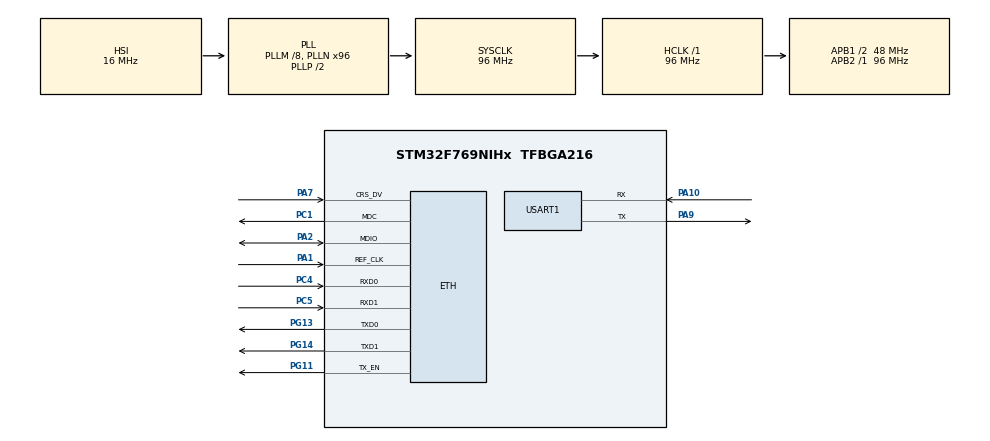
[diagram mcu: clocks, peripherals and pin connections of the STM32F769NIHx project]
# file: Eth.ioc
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CORTEX_M7.default_mode_Activation=1
ETH.MediaInterface=HAL_ETH_RMII_MODE
FREERTOS.Tasks01=defaultTask,0,256,StartDefaultTask,Default,NULL,Dynamic,NULL,NULL
FREERTOS.configTIMER_TASK_STACK_DEPTH=256
FREERTOS.configTOTAL_HEAP_SIZE=65536
FREERTOS.configUSE_COUNTING_SEMAPHORES=1
FREERTOS.configUSE_TIMERS=1
Mcu.Family=STM32F7
Mcu.Name=STM32F769NIHx
Mcu.Package=TFBGA216
NVIC.ETH_IRQn=true\:5\:0\:false\:false\:true\:true\:true\:true\:true
NVIC.ETH_WKUP_IRQn=true\:5\:0\:false\:false\:true\:true\:true\:true\:true
NVIC.PriorityGroup=NVIC_PRIORITYGROUP_4
NVIC.USART1_IRQn=true\:5\:0\:false\:false\:true\:true\:true\:true\:true
PA1.Mode=RMII
PA1.Signal=ETH_REF_CLK
PA10.Mode=Asynchronous
PA10.Signal=USART1_RX
PA2.Mode=RMII
PA2.Signal=ETH_MDIO
PA7.Mode=RMII
PA7.Signal=ETH_CRS_DV
PA9.Mode=Asynchronous
PA9.Signal=USART1_TX
PC1.Mode=RMII
PC1.Signal=ETH_MDC
PC4.Mode=RMII
PC4.Signal=ETH_RXD0
PC5.Mode=RMII
PC5.Signal=ETH_RXD1
PG11.Mode=RMII
PG11.Signal=ETH_TX_EN
PG13.Mode=RMII
PG13.Signal=ETH_TXD0
PG14.Mode=RMII
PG14.Signal=ETH_TXD1
ProjectManager.HeapSize=0x200
ProjectManager.StackSize=0x400
ProjectManager.TargetToolchain=STM32CubeIDE
RCC.AHBFreq_Value=96000000
RCC.APB1CLKDivider=RCC_HCLK_DIV2
RCC.APB1Freq_Value=48000000
RCC.APB1TimFreq_Value=96000000
RCC.APB2Freq_Value=96000000
RCC.APB2TimFreq_Value=96000000
RCC.CortexFreq_Value=96000000
RCC.HCLKFreq_Value=96000000
RCC.HSE_VALUE=25000000
RCC.HSI_VALUE=16000000
RCC.LSE_VALUE=32768
RCC.PLLM=8
RCC.PLLN=96
RCC.PLLQ=4
RCC.SYSCLKFreq_VALUE=96000000
RCC.SYSCLKSource=RCC_SYSCLKSOURCE_PLLCLK
RCC.USBFreq_Value=48000000
RCC.VCOOutputFreq_Value=192000000
USART1.VirtualMode-Asynchronous=VM_ASYNC
VP_FREERTOS_VS_CMSIS_V1.Mode=CMSIS_V1
VP_RNG_VS_RNG.Mode=RNG_Activate
board=custom

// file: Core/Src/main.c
/* USER CODE BEGIN Header */
/**
  ******************************************************************************
  * @file           : main.c
  * @brief          : Main program body
  ******************************************************************************
  * @attention
  *
  * Copyright (c) 2025 STMicroelectronics.
  * All rights reserved.
  *
  * This software is licensed under terms that can be found in the LICENSE file
  * in the root directory of this software component.
  * If no LICENSE file comes with this software, it is provided AS-IS.
  *
  ******************************************************************************
  */
/* USER CODE END Header */
#include "main.h"
#include "string.h"
#include "cmsis_os.h"

/* USER CODE BEGIN Includes */
#include <string.h>
#include <stdio.h>
#include <string.h>
#include <stdlib.h>
#include "eth.h"
#include "eth_test.h"
#include "usart_drv.h"
#include "eth_drv.h"
#include "console.h"
#include "util.h"
#include "ip.h"
#include "icmp.h"
/* USER CODE END Includes */

/* USER CODE BEGIN PTD */
typedef osStatus (*INIT_FUNC)(void);
typedef void (*CMD_FUNC)(void);
/* USER CODE END PTD */

#if defined ( __ICCARM__ ) /*!< IAR Compiler */
#pragma location=0x2007c000
ETH_DMADescTypeDef  DMARxDscrTab[ETH_RX_DESC_CNT]; /* Ethernet Rx DMA Descriptors */
#pragma location=0x2007c0a0
ETH_DMADescTypeDef  DMATxDscrTab[ETH_TX_DESC_CNT]; /* Ethernet Tx DMA Descriptors */

#elif defined ( __CC_ARM )  /* MDK ARM Compiler */

__attribute__((at(0x2007c000))) ETH_DMADescTypeDef  DMARxDscrTab[ETH_RX_DESC_CNT]; /* Ethernet Rx DMA Descriptors */
__attribute__((at(0x2007c0a0))) ETH_DMADescTypeDef  DMATxDscrTab[ETH_TX_DESC_CNT]; /* Ethernet Tx DMA Descriptors */

#elif defined ( __GNUC__ ) /* GNU Compiler */

ETH_DMADescTypeDef DMARxDscrTab[ETH_RX_DESC_CNT] __attribute__((section(".RxDecripSection"))); /* Ethernet Rx DMA Descriptors */
ETH_DMADescTypeDef DMATxDscrTab[ETH_TX_DESC_CNT] __attribute__((section(".TxDecripSection")));   /* Ethernet Tx DMA Descriptors */
#endif

ETH_TxPacketConfig TxConfig;

ETH_HandleTypeDef heth;

RNG_HandleTypeDef hrng;

UART_HandleTypeDef huart1;

osThreadId defaultTaskHandle;
/* USER CODE BEGIN PV */
static osStatus setup(void);
static const INIT_FUNC init_func[] = {
	// peri
	eth_init,
	// drv
	usart_drv_init,
	eth_drv_init,
	// app
	console_init,
	eth_test_init,
	util_init,
};
static const CMD_FUNC cmd_func[] = {
	eth_set_cmd,
	eth_test_set_cmd,
	icmp_set_cmd,
};
/* USER CODE END PV */

void SystemClock_Config(void);
static void MPU_Config(void);
static void MX_GPIO_Init(void);
static void MX_USART1_UART_Init(void);
static void MX_ETH_Init(void);
static void MX_RNG_Init(void);
void StartDefaultTask(void const * argument);

/* USER CODE BEGIN 0 */
static ETH_HandleTypeDef tmp_heth;
extern void HAL_ETH_MspInit(ETH_HandleTypeDef* ethHandle);
static void tmp_mx_eth_init(void)
{
	tmp_heth.Instance = ETH;

	HAL_ETH_MspInit(&tmp_heth);
}
/* USER CODE END 0 */

int main(void)
{

  /* USER CODE BEGIN 1 */
	uint8_t i, size;
  /* USER CODE END 1 */

  /* MPU Configuration--------------------------------------------------------*/
  MPU_Config();

  /* MCU Configuration--------------------------------------------------------*/

  /* Reset of all peripherals, Initializes the Flash interface and the Systick. */
  HAL_Init();

  /* Configure the system clock */
  SystemClock_Config();

  /* Initialize all configured peripherals */
  MX_GPIO_Init();
  MX_USART1_UART_Init();
  MX_ETH_Init();
  MX_RNG_Init();
  /* USER CODE BEGIN 2 */
	tmp_mx_eth_init();
	// 初期化
	size = sizeof(init_func)/sizeof(init_func[0]);
	for (i = 0; i < size; i++) {
		init_func[i]();
	}
	// コマンド
	size = sizeof(cmd_func)/sizeof(cmd_func[0]);
	for (i = 0; i < size; i++) {
		cmd_func[i]();
	}
  /* USER CODE END 2 */

  /* Create the thread(s) */
  /* definition and creation of defaultTask */
  osThreadDef(defaultTask, StartDefaultTask, osPriorityNormal, 0, 256);
  defaultTaskHandle = osThreadCreate(osThread(defaultTask), NULL);

  /* Start scheduler */
  osKernelStart();

  /* We should never get here as control is now taken by the scheduler */

  /* Infinite loop */
  while (1)
  {

  }
}

void SystemClock_Config(void)
{
  RCC_OscInitTypeDef RCC_OscInitStruct = {0};
  RCC_ClkInitTypeDef RCC_ClkInitStruct = {0};

  /** Configure the main internal regulator output voltage
  */
  __HAL_RCC_PWR_CLK_ENABLE();
  __HAL_PWR_VOLTAGESCALING_CONFIG(PWR_REGULATOR_VOLTAGE_SCALE3);

  /** Initializes the RCC Oscillators according to the specified parameters
  * in the RCC_OscInitTypeDef structure.
  */
  RCC_OscInitStruct.OscillatorType = RCC_OSCILLATORTYPE_HSI;
  RCC_OscInitStruct.HSIState = RCC_HSI_ON;
  RCC_OscInitStruct.HSICalibrationValue = RCC_HSICALIBRATION_DEFAULT;
  RCC_OscInitStruct.PLL.PLLState = RCC_PLL_ON;
  RCC_OscInitStruct.PLL.PLLSource = RCC_PLLSOURCE_HSI;
  RCC_OscInitStruct.PLL.PLLM = 8;
  RCC_OscInitStruct.PLL.PLLN = 96;
  RCC_OscInitStruct.PLL.PLLP = RCC_PLLP_DIV2;
  RCC_OscInitStruct.PLL.PLLQ = 4;
  RCC_OscInitStruct.PLL.PLLR = 2;
  if (HAL_RCC_OscConfig(&RCC_OscInitStruct) != HAL_OK)
  {
    Error_Handler();
  }

  /** Activate the Over-Drive mode
  */
  if (HAL_PWREx_EnableOverDrive() != HAL_OK)
  {
    Error_Handler();
  }

  /** Initializes the CPU, AHB and APB buses clocks
  */
  RCC_ClkInitStruct.ClockType = RCC_CLOCKTYPE_HCLK|RCC_CLOCKTYPE_SYSCLK
                              |RCC_CLOCKTYPE_PCLK1|RCC_CLOCKTYPE_PCLK2;
  RCC_ClkInitStruct.SYSCLKSource = RCC_SYSCLKSOURCE_PLLCLK;
  RCC_ClkInitStruct.AHBCLKDivider = RCC_SYSCLK_DIV1;
  RCC_ClkInitStruct.APB1CLKDivider = RCC_HCLK_DIV2;
  RCC_ClkInitStruct.APB2CLKDivider = RCC_HCLK_DIV1;

  if (HAL_RCC_ClockConfig(&RCC_ClkInitStruct, FLASH_LATENCY_3) != HAL_OK)
  {
    Error_Handler();
  }
}

static void MX_ETH_Init(void)
{

   static uint8_t MACAddr[6];

  heth.Instance = ETH;
  MACAddr[0] = 0x00;
  MACAddr[1] = 0x80;
  MACAddr[2] = 0xE1;
  MACAddr[3] = 0x00;
  MACAddr[4] = 0x00;
  MACAddr[5] = 0x00;
  heth.Init.MACAddr = &MACAddr[0];
  heth.Init.MediaInterface = HAL_ETH_RMII_MODE;
  heth.Init.TxDesc = DMATxDscrTab;
  heth.Init.RxDesc = DMARxDscrTab;
  heth.Init.RxBuffLen = 1524;

  if (HAL_ETH_Init(&heth) != HAL_OK)
  {
    Error_Handler();
  }

  memset(&TxConfig, 0 , sizeof(ETH_TxPacketConfig));
  TxConfig.Attributes = ETH_TX_PACKETS_FEATURES_CSUM | ETH_TX_PACKETS_FEATURES_CRCPAD;
  TxConfig.ChecksumCtrl = ETH_CHECKSUM_IPHDR_PAYLOAD_INSERT_PHDR_CALC;
  TxConfig.CRCPadCtrl = ETH_CRC_PAD_INSERT;

}

static void MX_RNG_Init(void)
{

  hrng.Instance = RNG;
  if (HAL_RNG_Init(&hrng) != HAL_OK)
  {
    Error_Handler();
  }

}

static void MX_USART1_UART_Init(void)
{

  huart1.Instance = USART1;
  huart1.Init.BaudRate = 115200;
  huart1.Init.WordLength = UART_WORDLENGTH_8B;
  huart1.Init.StopBits = UART_STOPBITS_1;
  huart1.Init.Parity = UART_PARITY_NONE;
  huart1.Init.Mode = UART_MODE_TX_RX;
  huart1.Init.HwFlowCtl = UART_HWCONTROL_NONE;
  huart1.Init.OverSampling = UART_OVERSAMPLING_16;
  huart1.Init.OneBitSampling = UART_ONE_BIT_SAMPLE_DISABLE;
  huart1.AdvancedInit.AdvFeatureInit = UART_ADVFEATURE_NO_INIT;
  if (HAL_UART_Init(&huart1) != HAL_OK)
  {
    Error_Handler();
  }

}

static void MX_GPIO_Init(void)
{

  /* GPIO Ports Clock Enable */
  __HAL_RCC_GPIOG_CLK_ENABLE();
  __HAL_RCC_GPIOA_CLK_ENABLE();
  __HAL_RCC_GPIOC_CLK_ENABLE();

}

void StartDefaultTask(void const * argument)
{
  for(;;)
  {
    osDelay(1);
  }
}

 /* MPU Configuration */

void MPU_Config(void)
{
  MPU_Region_InitTypeDef MPU_InitStruct = {0};

  /* Disables the MPU */
  HAL_MPU_Disable();

  /** Initializes and configures the Region and the memory to be protected
  */
  MPU_InitStruct.Enable = MPU_REGION_ENABLE;
  MPU_InitStruct.Number = MPU_REGION_NUMBER0;
  MPU_InitStruct.BaseAddress = 0x0;
  MPU_InitStruct.Size = MPU_REGION_SIZE_4GB;
  MPU_InitStruct.SubRegionDisable = 0x87;
  MPU_InitStruct.TypeExtField = MPU_TEX_LEVEL0;
  MPU_InitStruct.AccessPermission = MPU_REGION_NO_ACCESS;
  MPU_InitStruct.DisableExec = MPU_INSTRUCTION_ACCESS_DISABLE;
  MPU_InitStruct.IsShareable = MPU_ACCESS_SHAREABLE;
  MPU_InitStruct.IsCacheable = MPU_ACCESS_NOT_CACHEABLE;
  MPU_InitStruct.IsBufferable = MPU_ACCESS_NOT_BUFFERABLE;

  HAL_MPU_ConfigRegion(&MPU_InitStruct);
  /* Enables the MPU */
  HAL_MPU_Enable(MPU_PRIVILEGED_DEFAULT);

}

void Error_Handler(void)
{
  __disable_irq();
  while (1)
  {
  }
}
